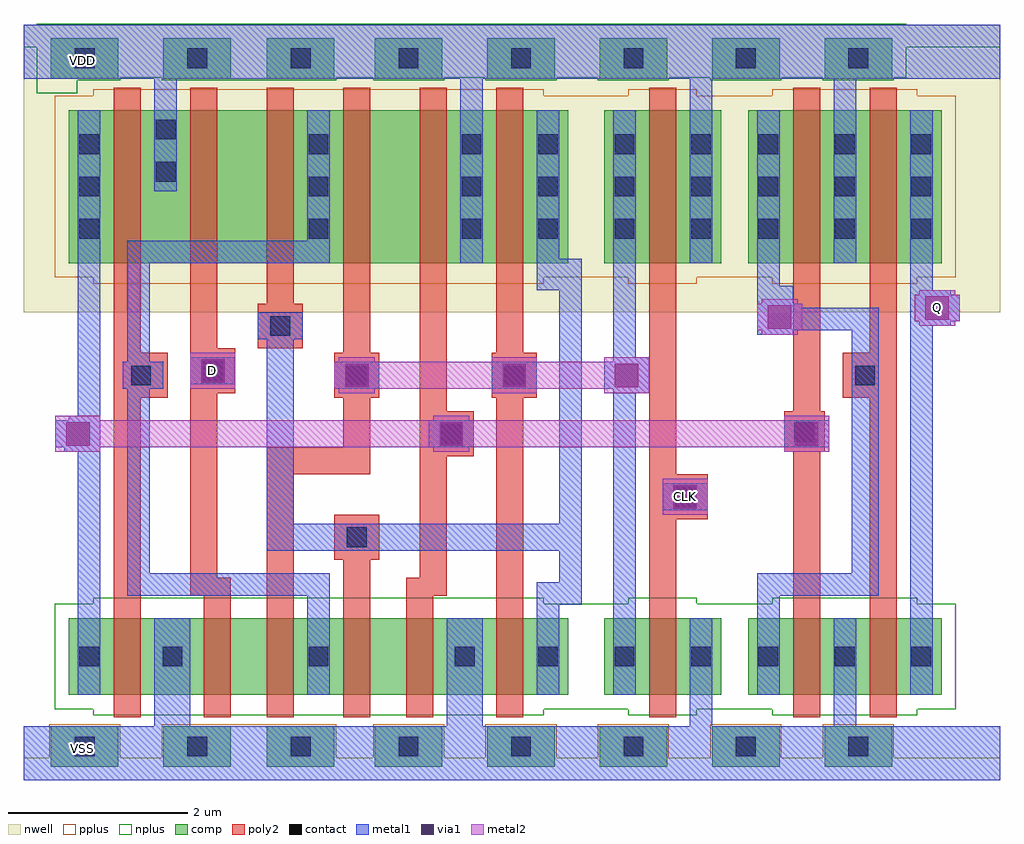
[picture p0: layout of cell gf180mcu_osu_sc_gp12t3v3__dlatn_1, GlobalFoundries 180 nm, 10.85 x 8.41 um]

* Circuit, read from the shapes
.subckt gf180mcu_osu_sc_gp12t3v3__dlatn_1 CLK D Q VDD VSS
XM1 VSS n1 n2 VSS nfet_03v3 w=0.85u l=0.3u
XM2 n3 D VSS VSS nfet_03v3 w=0.85u l=0.3u
XM3 n1 n4 n3 VSS nfet_03v3 w=0.85u l=0.3u
XM4 n5 n6 n1 VSS nfet_03v3 w=0.85u l=0.3u
XM5 VSS n2 n5 VSS nfet_03v3 w=0.85u l=0.3u
XM6 n6 n4 VSS VSS nfet_03v3 w=0.85u l=0.3u
XM7 VSS CLK n4 VSS nfet_03v3 w=0.85u l=0.3u
XM8 VSS n2 n7 VSS nfet_03v3 w=0.85u l=0.3u
XM9 Q n7 VSS VSS nfet_03v3 w=0.85u l=0.3u
XM10 VDD n1 n2 VDD pfet_03v3 w=1.7u l=0.3u
XM11 n8 D VDD VDD pfet_03v3 w=1.7u l=0.3u
XM12 n1 n6 n8 VDD pfet_03v3 w=1.7u l=0.3u
XM13 n9 n4 n1 VDD pfet_03v3 w=1.7u l=0.3u
XM14 VDD n2 n9 VDD pfet_03v3 w=1.7u l=0.3u
XM15 n6 n4 VDD VDD pfet_03v3 w=1.7u l=0.3u
XM16 VDD CLK n4 VDD pfet_03v3 w=1.7u l=0.3u
XM17 VDD n2 n7 VDD pfet_03v3 w=1.7u l=0.3u
XM18 Q n7 VDD VDD pfet_03v3 w=1.7u l=0.3u
.ends

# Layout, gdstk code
import gdstk
lib = gdstk.Library(unit=1e-6, precision=1e-09)
def R(c, l, rs):  # rectangles x0, y0, x1, y1
    for r in rs: c.add(gdstk.rectangle(r[:2], r[2:], *l))
def A(c, l, x, y, w, h, nx, ny, dx, dy):  # array of equal rectangles
    R(c, l, [(x+i*dx, y+j*dy, x+i*dx+w, y+j*dy+h) for i in range(nx) for j in range(ny)])
nwell = (21, 0)
comp = (22, 0)
poly2 = (30, 0)
pplus = (31, 0)
nplus = (32, 0)
contact = (33, 0)
metal1 = (34, 0)
via1 = (35, 0)
metal2 = (36, 0)

gf180mcu_osu_sc_gp12t3v3 = lib.new_cell('gf180mcu_osu_sc_gp12t3v3__dlatn_1')
R(gf180mcu_osu_sc_gp12t3v3, nwell, [(0,5.2,10.85,8.4)])
A(gf180mcu_osu_sc_gp12t3v3, comp, 3.9, 0.15, 0.75, 0.45, 5, 2, 1.25, 7.65)
R(gf180mcu_osu_sc_gp12t3v3, comp, [(0.3,0.15,1.05,0.6), (1.55,0.15,2.3,0.6), (2.7,0.15,3.45,0.6), (0.5,0.95,6.05,1.8), (6.45,0.95,7.75,1.8), (8.05,0.95,10.2,1.8), (0.5,5.75,6.05,7.45), (6.45,5.75,7.75,7.45), (8.05,5.75,10.2,7.45), (0.3,7.8,1.05,8.25), (1.55,7.8,2.3,8.25), (2.7,7.8,3.45,8.25)])
R(gf180mcu_osu_sc_gp12t3v3, poly2, [(1,0.7,1.3,4.25), (2,0.7,2.3,2.05), (2.7,0.7,3,3.4), (3.55,0.7,3.85,2.45), (4.25,0.7,4.55,2.05), (5.25,0.7,5.55,4.25), (6.95,0.7,7.25,2.9), (8.55,0.7,8.85,3.65), (9.4,0.7,9.7,4.25), (1.85,2.05,2.3,2.25), (4.25,2.05,4.7,2.25), (1.85,2.25,2.15,4.3), (4.4,2.25,4.7,3.6), (3.45,2.45,3.95,2.95), (6.95,2.9,7.6,3.4), (2.7,3.4,3.85,3.7), (6.95,3.4,7.25,7.7), (4.4,3.6,5,4.1), (8.45,3.65,8.9,4.1), (3.55,3.7,3.85,4.25), (4.4,4.1,4.7,7.7), (8.55,4.1,8.85,7.7), (1,4.25,1.6,4.75), (3.45,4.25,3.95,4.75), (5.2,4.25,5.7,4.75), (9.1,4.25,9.7,4.75), (1.85,4.3,2.35,4.8), (1,4.75,1.3,7.7), (3.55,4.75,3.85,7.7), (5.25,4.75,5.55,7.7), (9.4,4.75,9.7,7.7), (1.85,4.8,2.15,7.7), (2.6,4.8,3.1,5.3), (2.7,5.3,3,7.7)])
A(gf180mcu_osu_sc_gp12t3v3, pplus, 3.88, 0.13, 0.79, 0.49, 5, 1, 1.25, 0)
R(gf180mcu_osu_sc_gp12t3v3, pplus, [(0,0,10.85,0.25), (0.28,0.13,1.07,0.62), (1.53,0.13,3.47,0.62), (0.77,5.52,5.78,5.59), (6.72,5.52,7.48,5.59), (8.32,5.52,9.93,5.59), (0.34,5.59,10.36,7.61), (0.77,7.61,5.78,7.68), (6.72,7.61,7.48,7.68), (8.32,7.61,9.93,7.68)])
A(gf180mcu_osu_sc_gp12t3v3, nplus, 3.88, 7.78, 0.79, 0.03, 5, 1, 1.25, 0)
R(gf180mcu_osu_sc_gp12t3v3, nplus, [(0.77,0.72,5.78,0.79), (6.72,0.72,7.48,0.79), (8.32,0.72,9.93,0.79), (0.34,0.79,10.36,1.96), (0.77,1.96,5.78,2.03), (6.72,1.96,7.48,2.03), (8.32,1.96,9.93,2.03), (0.14,7.64,0.59,7.78), (0.14,7.78,1.07,7.81), (1.53,7.78,3.47,7.81), (0.14,7.81,9.81,8.15), (0,8.15,10.85,8.4), (0,8.15,10.85,8.4), (0.14,8.4,9.81,8.41)])
A(gf180mcu_osu_sc_gp12t3v3, contact, 4.165, 0.265, 0.22, 0.22, 5, 2, 1.25, 7.65)
A(gf180mcu_osu_sc_gp12t3v3, contact, 1.54, 1.265, 0.22, 0.22, 3, 1, 1.625, 0)
A(gf180mcu_osu_sc_gp12t3v3, contact, 5.715, 1.265, 0.22, 0.22, 3, 1, 0.85, 0)
A(gf180mcu_osu_sc_gp12t3v3, contact, 8.165, 1.265, 0.22, 0.22, 3, 2, 0.85, 4.755)
A(gf180mcu_osu_sc_gp12t3v3, contact, 0.615, 6.02, 0.22, 0.22, 1, 3, 0, 0.47)
A(gf180mcu_osu_sc_gp12t3v3, contact, 3.165, 6.02, 0.22, 0.22, 1, 3, 0, 0.47)
A(gf180mcu_osu_sc_gp12t3v3, contact, 4.865, 6.02, 0.22, 0.22, 4, 3, 0.85, 0.47)
A(gf180mcu_osu_sc_gp12t3v3, contact, 8.165, 6.49, 0.22, 0.22, 3, 2, 0.85, 0.47)
R(gf180mcu_osu_sc_gp12t3v3, contact, [(0.565,0.265,0.785,0.485), (1.815,0.265,2.035,0.485), (2.965,0.265,3.185,0.485), (0.615,1.265,0.835,1.485), (3.59,2.59,3.81,2.81), (7.24,3.04,7.46,3.26), (4.64,3.74,4.86,3.96), (8.565,3.765,8.785,3.985), (1.19,4.39,1.41,4.61), (3.59,4.39,3.81,4.61), (5.34,4.39,5.56,4.61), (9.24,4.39,9.46,4.61), (1.99,4.44,2.21,4.66), (2.74,4.94,2.96,5.16), (1.465,6.655,1.685,6.875), (1.465,7.125,1.685,7.345), (0.565,7.915,0.785,8.135), (1.815,7.915,2.035,8.135), (2.965,7.915,3.185,8.135)])
R(gf180mcu_osu_sc_gp12t3v3, metal1, [(0,0,10.85,0.6), (1.45,0.6,1.85,1.8), (4.7,0.6,5.1,1.8), (7.4,0.6,7.65,1.8), (9,0.6,9.25,1.8), (0.6,0.95,0.85,3.65), (3.15,0.95,3.4,2.05), (5.7,0.95,5.95,1.95), (6.55,0.95,6.8,4.3), (8.15,0.95,8.4,2.05), (9.85,0.95,10.1,5.05), (5.7,1.95,6.2,2.2), (1.15,2.05,3.4,2.3), (8.15,2.05,9.5,2.3), (5.95,2.2,6.2,2.55), (1.15,2.3,1.4,4.35), (9.2,2.3,9.5,5), (2.7,2.55,6.2,2.85), (2.7,2.85,3,4.9), (5.95,2.85,6.2,5.45), (7.1,3,7.6,3.3), (0.45,3.65,0.85,3.7), (0.35,3.7,0.85,4), (4.5,3.7,5,4), (8.45,3.7,8.95,4), (0.5,4,0.85,4.05), (0.6,4.05,0.85,7.45), (6.55,4.3,6.95,4.35), (1.1,4.35,1.55,4.65), (3.45,4.35,3.95,4.65), (5.2,4.35,5.7,4.65), (6.45,4.35,6.95,4.65), (1.85,4.4,2.35,4.7), (1.15,4.65,1.4,5.75), (6.55,4.65,6.95,4.7), (6.55,4.7,6.8,7.45), (2.6,4.9,3.1,5.2), (8.15,4.95,8.55,5), (8.15,5,9.5,5.25), (9.85,5.05,10.3,5.1), (9.85,5.1,10.4,5.4), (8.15,5.25,8.65,5.3), (8.15,5.3,8.55,5.5), (9.85,5.4,10.3,5.45), (5.7,5.45,6.2,5.8), (9.85,5.45,10.1,7.45), (8.15,5.5,8.4,7.45), (1.15,5.75,3.4,6), (4.85,5.75,5.1,7.8), (7.4,5.75,7.65,7.8), (9,5.75,9.25,7.8), (5.7,5.8,5.95,7.45), (3.15,6,3.4,7.45), (1.45,6.55,1.7,7.8), (0,7.8,10.85,8.4)])
R(gf180mcu_osu_sc_gp12t3v3, via1, [(7.22,3.02,7.48,3.28), (0.47,3.72,0.73,3.98), (4.62,3.72,4.88,3.98), (8.57,3.72,8.83,3.98), (3.57,4.37,3.83,4.63), (5.32,4.37,5.58,4.63), (6.57,4.37,6.83,4.63), (1.97,4.42,2.23,4.68), (8.27,5.02,8.53,5.28), (10.02,5.12,10.28,5.38)])
R(gf180mcu_osu_sc_gp12t3v3, metal2, [(7.1,2.95,7.6,3.35), (0.35,3.65,0.85,3.7), (4.55,3.65,4.95,3.7), (8.45,3.65,8.95,3.7), (0.35,3.7,8.95,4), (0.35,4,0.85,4.05), (4.55,4,4.95,4.05), (8.45,4,8.95,4.05), (3.5,4.3,3.9,4.35), (5.2,4.3,5.7,4.35), (6.45,4.3,6.95,4.35), (1.85,4.35,2.35,4.75), (3.45,4.35,6.95,4.65), (3.5,4.65,3.9,4.7), (5.2,4.65,5.7,4.7), (6.45,4.65,6.95,4.7), (8.2,4.95,8.6,5), (8.15,5,8.65,5.3), (9.95,5.05,10.35,5.1), (9.9,5.1,10.4,5.4), (8.2,5.3,8.6,5.35), (9.95,5.4,10.35,5.45)])
gf180mcu_osu_sc_gp12t3v3.add(gdstk.Label('D', (2.1,4.55), layer=36, texttype=10))
gf180mcu_osu_sc_gp12t3v3.add(gdstk.Label('CLK', (7.35,3.15), layer=36, texttype=10))
gf180mcu_osu_sc_gp12t3v3.add(gdstk.Label('Q', (10.15,5.25), layer=36, texttype=10))
gf180mcu_osu_sc_gp12t3v3.add(gdstk.Label('VDD', (0.65,8), layer=34, texttype=10))
gf180mcu_osu_sc_gp12t3v3.add(gdstk.Label('VSS', (0.65,0.35), layer=34, texttype=10))

lib.write_gds('gf180mcu_osu_sc_gp12t3v3__dlatn_1.gds')
